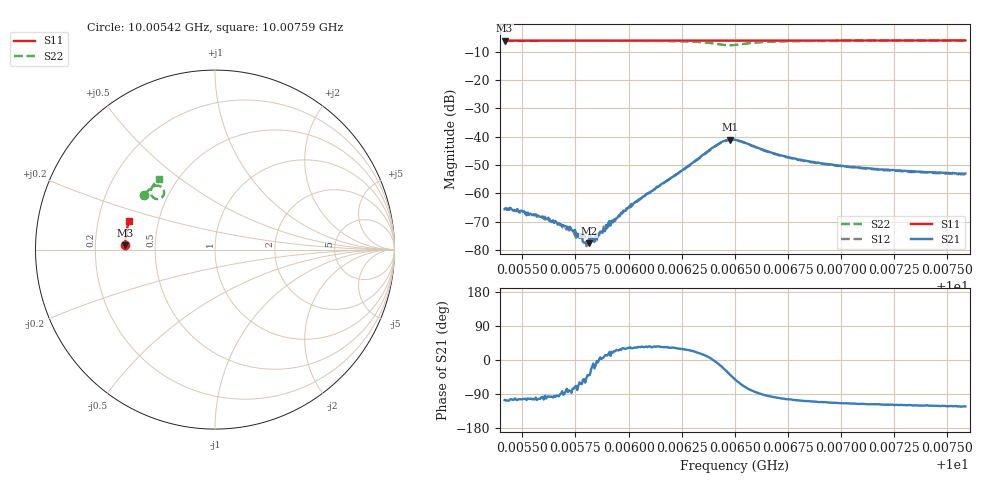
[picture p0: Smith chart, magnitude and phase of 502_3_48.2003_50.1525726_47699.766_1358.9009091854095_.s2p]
#  HZ  S  RI  R  50.00
! Rohde & Schwarz Vector Network Analyzer
! Rohde-Schwarz,ZNB20-2Port,1311601062101988,3.16
! Created: UTC 3/20/2024, 11:58:37 AM
! freq[Hz]  re:S11  im:S11  re:S21  im:S21  re:S12  im:S12  re:S22  im:S22
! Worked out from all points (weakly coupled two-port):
!   401 points, 10.00542 GHz to 10.00759 GHz, reference 50 ohm
!   highest |S21| = -41.01 dB at 10.00648 GHz (marker M1); lowest = -77.7 dB at 10.00581 GHz (marker M2)
!   lowest |S11| = -6.0 dB at 10.00542 GHz (marker M3), VSWR 3.01, Z = 16.6 + j1.07 ohm
!   |S11| at or under -10 dB: nowhere
!   |S22| runs from -7.6 to -6.0 dB; largest |S21 - S12| = 0.00056
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1.0005416e10  -0.5003 0.024  -0.00014 -0.000504  -0.000121 -0.000514  -0.3941 0.3015
1.0005503e10  -0.5002 0.0296  -0.000106 -0.000454  -6.3e-05 -0.000436  -0.3905 0.3067
1.0005552e10  -0.5001 0.0328  -9.08e-05 -0.000412  -7.15e-05 -0.000408  -0.3883 0.3096
1.0005649e10  -0.4998 0.0391  -2.64e-05 -0.000298  -3.58e-05 -0.000297  -0.3837 0.3154
1.0005698e10  -0.4997 0.0424  6.61e-06 -0.000258  1.13e-05 -0.000222  -0.3813 0.3184
1.0005736e10  -0.4994 0.0448  5.22e-05 -0.00021  3.63e-05 -0.00022  -0.3795 0.3207
1.0005753e10  -0.4995 0.0459  7.2e-05 -0.000185  6.46e-05 -0.000148  -0.3786 0.3217
1.000578e10  -0.4994 0.0476  7.97e-05 -0.000161  8.07e-05 -0.000139  -0.3772 0.3234
1.0005796e10  -0.4993 0.0487  6.61e-05 -0.000114  9.01e-05 -0.000138  -0.3762 0.3243
1.0005812e10  -0.4992 0.0496  9.95e-05 -8.45e-05  0.000112 -8.98e-05  -0.3755 0.3254
1.0005823e10  -0.4993 0.0503  0.000136 -6.44e-05  0.000136 -9.4e-05  -0.3749 0.3262
1.000585e10  -0.4991 0.0522  0.000157 -7.14e-06  0.000142 -4.01e-05  -0.3733 0.3277
1.0005904e10  -0.4988 0.0558  0.00029 7.48e-05  0.000246 0.000103  -0.3701 0.3314
1.0006002e10  -0.4983 0.062  0.000493 0.000307  0.000454 0.000321  -0.3636 0.3379
1.0006143e10  -0.4971 0.0711  0.00108 0.000791  0.00108 0.000791  -0.3507 0.3479
1.0006414e10  -0.4944 0.0885  0.00711 -0.000814  0.00698 -0.000375  -0.2861 0.3328
1.0006479e10  -0.4936 0.0922  0.00683 -0.0057  0.00701 -0.00522  -0.2965 0.2899
1.0006501e10  -0.4935 0.0933  0.00553 -0.00688  0.00578 -0.00644  -0.3105 0.2827
1.0006707e10  -0.4919 0.1065  -0.000832 -0.00472  -0.000617 -0.00463  -0.3578 0.3271
1.0006864e10  -0.4901 0.1166  -0.0012 -0.00339  -0.00104 -0.00339  -0.3508 0.3477
1.0007228e10  -0.4848 0.1396  -0.00123 -0.00226  -0.00108 -0.0023  -0.3315 0.3741
1.0007586e10  -0.4787 0.1618  -0.0012 -0.00189  -0.00107 -0.00187  -0.3129 0.3928
